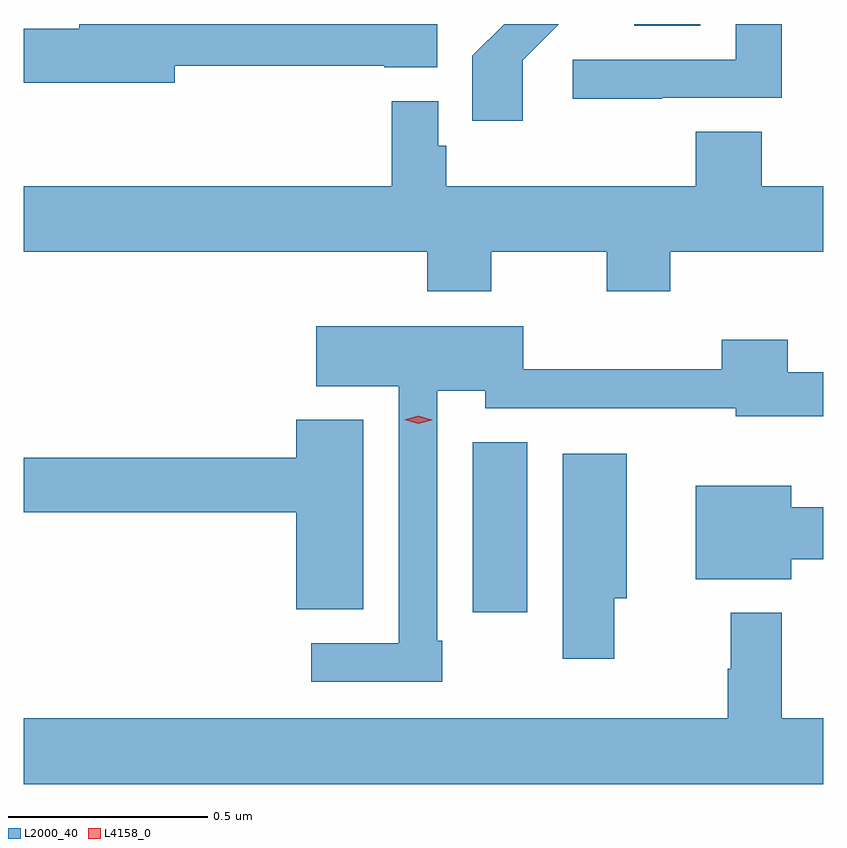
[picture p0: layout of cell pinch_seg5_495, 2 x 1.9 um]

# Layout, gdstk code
import gdstk
lib = gdstk.Library(unit=1e-6, precision=1e-09)
def R(c, l, rs):  # rectangles x0, y0, x1, y1
    for r in rs: c.add(gdstk.rectangle(r[:2], r[2:], *l))
def P(c, l, *ps):  # polygons
    for p in ps: c.add(gdstk.Polygon(p, *l))
L2000_40 = (2000, 40)
L4158_0 = (4158, 0)

pinch_seg5_495 = lib.new_cell('pinch_seg5_495')
R(pinch_seg5_495, L2000_40, [(898.403,842.538,898.54,842.963), (898.808,844.006,898.972,844.01)])
P(pinch_seg5_495, L2000_40, [(898.877,843.825),(899.177,843.825),(899.177,844.01),(899.061,844.01),(899.061,843.921),(898.653,843.921),(898.653,843.823),(898.877,843.823)],
  [(898.528,843.919),(898.618,844.009),(898.618,844.01),(898.482,844.01),(898.402,843.93),(898.402,843.768),(898.528,843.768)],
  [(897.658,843.906),(898.182,843.906),(898.182,843.902),(898.315,843.902),(898.315,844.01),(897.419,844.01),(897.419,843.998),(897.28,843.998),(897.28,843.863),(897.658,843.863)],
  [(898.449,843.44),(898.738,843.44),(898.738,843.341),(898.898,843.341),(898.898,843.44),(899.28,843.44),(899.28,843.604),(899.126,843.604),(899.126,843.74),(898.961,843.74),(898.961,843.604),(898.337,843.604),(898.337,843.705),(898.317,843.705),(898.317,843.817),(898.201,843.817),(898.201,843.604),(897.28,843.604),(897.28,843.44),(898.289,843.44),(898.289,843.341),(898.449,843.341)],
  [(898.327,842.467),(898.314,842.467),(898.314,843.092),(898.434,843.092),(898.434,843.048),(899.061,843.048),(899.061,843.028),(899.28,843.028),(899.28,843.139),(899.192,843.139),(899.192,843.22),(899.027,843.22),(899.027,843.146),(898.53,843.146),(898.53,843.253),(898.011,843.253),(898.011,843.104),(898.218,843.104),(898.218,842.46),(897.999,842.46),(897.999,842.364),(898.327,842.364)],
  [(898.129,843.019),(897.962,843.019),(897.962,842.924),(897.28,842.924),(897.28,842.788),(897.962,842.788),(897.962,842.545),(898.129,842.545)],
  [(898.758,842.573),(898.789,842.573),(898.789,842.935),(898.628,842.935),(898.628,842.421),(898.758,842.421)],
  [(899.2,842.671),(899.28,842.671),(899.28,842.8),(899.2,842.8),(899.2,842.854),(898.961,842.854),(898.961,842.621),(899.2,842.621)],
  [(899.28,842.272),(899.177,842.272),(899.177,842.536),(899.049,842.536),(899.049,842.396),(899.041,842.396),(899.041,842.272),(897.28,842.272),(897.28,842.108),(899.28,842.108)])
P(pinch_seg5_495, L4158_0, [(898.267,843.009),(898.232,843.02),(898.232,843.02),(898.232,843.02),(898.267,843.029),(898.301,843.019),(898.302,843.018),(898.301,843.018)])

lib.write_gds('pinch_seg5_495.gds')
